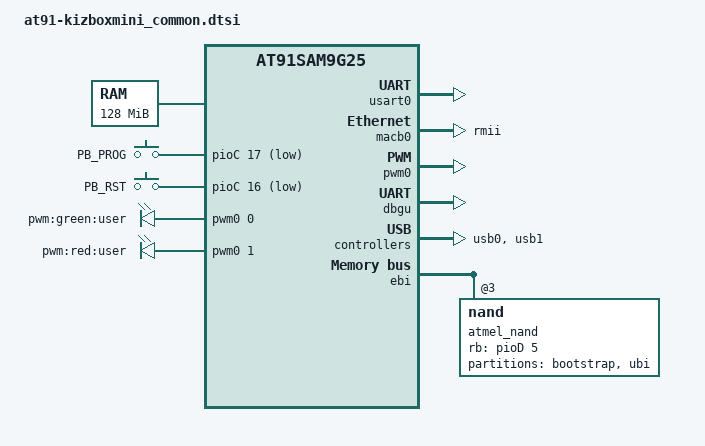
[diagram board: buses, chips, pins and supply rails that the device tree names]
// SPDX-License-Identifier: GPL-2.0
/*
 * at91-kizboxmini.dts - Device Tree file for Overkiz Kizbox mini board
 *
 * Copyright (C) 2014-2018 Overkiz SAS
 *   Author: Antoine Aubert <a.aubert@overkiz.com>
 *           Gaël Portay <g.portay@overkiz.com>
 *           Kévin Raymond <k.raymond@overkiz.com>
 *           Dorian Rocipon <d.rocipon@overkiz.com>
 */
#include "at91sam9g25.dtsi"

/ {
	chosen {
		bootargs = "ubi.mtd=ubi";
		stdout-path = &dbgu;
	};

	memory {
		reg = <0x20000000 0x8000000>;
	};

	clocks {
		main_xtal {
			clock-frequency = <12000000>;
		};

		adc_op_clk {
			status = "disabled";
		};
	};

	ahb {
		apb {
			usart0: serial@f801c000 {
				atmel,use-dma-rx;
				atmel,use-dma-tx;
				status = "okay";
			};

			macb0: ethernet@f802c000 {
				phy-mode = "rmii";
				status = "okay";
			};

			pwm0: pwm@f8034000 {
				pinctrl-names = "default";
				pinctrl-0 = <&pinctrl_pwm0_pwm0_1
					     &pinctrl_pwm0_pwm1_1
					     &pinctrl_pwm0_pwm2_1>;
				status = "okay";
			};

			dbgu: serial@fffff200 {
				status = "okay";
			};

			watchdog@fffffe40 {
				status = "okay";
			};

			adc0: adc@f804c000 {
				status = "disabled";
			};

			rtc0: rtc@fffffeb0 {
				status = "disabled";
			};
		};

		usb0: ohci@00600000 {
			num-ports = <1>;
			status = "okay";
		};

		usb1: ehci@00700000 {
			status = "okay";
		};

		ebi: ebi@10000000 {
			pinctrl-0 = <&pinctrl_ebi_addr_nand
				     &pinctrl_ebi_data_0_7>;
			pinctrl-names = "default";
			status = "okay";

			nand_controller: nand-controller {
				status = "okay";
				pinctrl-0 = <&pinctrl_nand_oe_we
					     &pinctrl_nand_cs
					     &pinctrl_nand_rb>;
				pinctrl-names = "default";

				nand@3 {
					reg = <0x3 0x0 0x800000>;
					rb-gpios = <&pioD 5 GPIO_ACTIVE_HIGH>;
					cs-gpios = <&pioD 4 GPIO_ACTIVE_HIGH>;
					nand-bus-width = <8>;
					nand-ecc-mode = "hw";
					nand-ecc-strength = <4>;
					nand-ecc-step-size = <512>;
					nand-on-flash-bbt;
					label = "atmel_nand";

					partitions {
						compatible = "fixed-partitions";
						#address-cells = <1>;
						#size-cells = <1>;

						bootstrap@0 {
							label = "bootstrap";
							reg = <0x0 0x20000>;
						};

						ubi@20000 {
							label = "ubi";
							reg = <0x20000 0x7fe0000>;
						};
					};
				};
			};
		};

		kboot: kboot@fffffd50 {
			compatible = "overkiz,at91-kboot";
			reg = <0xfffffe60 0x4>;
		};
	};

	gpio_keys {
		compatible = "gpio-keys";
		#address-cells = <1>;
		#size-cells = <0>;

		prog {
			label = "PB_PROG";
			gpios = <&pioC 17 GPIO_ACTIVE_LOW>;
			linux,code = <0x102>;
			wakeup-source;
		};

		reset {
			label = "PB_RST";
			gpios = <&pioC 16 GPIO_ACTIVE_LOW>;
			linux,code = <0x100>;
			wakeup-source;
		};
	};

	leds: pwm_leds {
		compatible = "pwm-leds";

		blue {
			label = "pwm:blue:user";
			pwms = <&pwm0 2 10000000 0>;
			max-brightness = <255>;
			linux,default-trigger = "none";
			status = "disabled";
		};

		green {
			label = "pwm:green:user";
			pwms = <&pwm0 0 10000000 0>;
			max-brightness = <255>;
			linux,default-trigger = "default-on";
		};

		red {
			label = "pwm:red:user";
			pwms = <&pwm0 1 10000000 0>;
			max-brightness = <255>;
			linux,default-trigger = "default-on";
		};
	};
};
